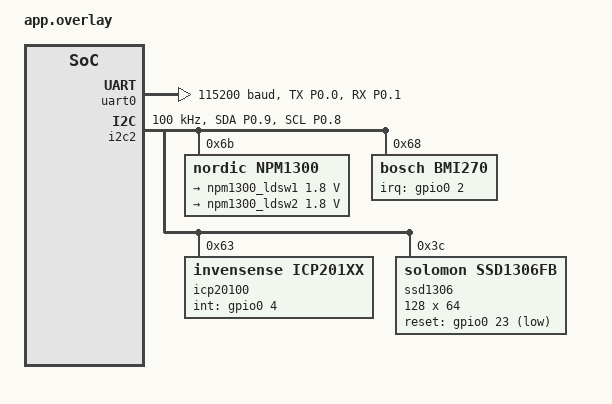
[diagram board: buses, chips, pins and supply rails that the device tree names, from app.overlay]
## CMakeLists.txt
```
# Require a minimum CMake version (Standard for NCS)
cmake_minimum_required(VERSION 3.20.0)

# Find the Zephyr package. This is the magic line that loads the whole RTOS.
find_package(Zephyr REQUIRED HINTS $ENV{ZEPHYR_BASE})

# Name your specific project
project(display)

target_sources(app PRIVATE src/main.c)
```

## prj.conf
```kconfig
# Core peripherals
CONFIG_GPIO=y
CONFIG_I2C=y

# Regulators: nPM1300 LDSWs + OLED power-enable GPIO (P0.26)
CONFIG_REGULATOR=y

# Display + text rendering
CONFIG_DISPLAY=y
CONFIG_CHARACTER_FRAMEBUFFER=y

# Console on uart0 for debug output
CONFIG_SERIAL=y
CONFIG_CONSOLE=y
CONFIG_UART_CONSOLE=y
CONFIG_PRINTK=y
CONFIG_LOG=y

CONFIG_HEAP_MEM_POOL_SIZE=4096
```

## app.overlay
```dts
#include <zephyr/dt-bindings/regulator/npm13xx.h>
#include <zephyr/dt-bindings/i2c/i2c.h>


&pinctrl {
    /* --- UART0 --- */
    uart0_default: uart0_default {
        group1 {
            psels = <NRF_PSEL(UART_TX, 0, 0)>,
                    <NRF_PSEL(UART_RX, 0, 1)>;
        };
    };
    uart0_sleep: uart0_sleep {
        group1 {
            psels = <NRF_PSEL(UART_TX, 0, 0)>,
                    <NRF_PSEL(UART_RX, 0, 1)>;
            low-power-enable;
        };
    };

    /* --- I2C2 --- */
    i2c2_default: i2c2_default {
        group1 {
            psels = <NRF_PSEL(TWIM_SDA, 0, 9)>,
                    <NRF_PSEL(TWIM_SCL, 0, 8)>;
        };
    };
    i2c2_sleep: i2c2_sleep {
        group1 {
            psels = <NRF_PSEL(TWIM_SDA, 0, 9)>,
                    <NRF_PSEL(TWIM_SCL, 0, 8)>;
            low-power-enable;
        };
    };
};


&uart0 {
    status = "okay";
    current-speed = <115200>;
    pinctrl-0 = <&uart0_default>;
    pinctrl-1 = <&uart0_sleep>;
    pinctrl-names = "default", "sleep";
};

&i2c2 {
    status = "okay";
    pinctrl-0 = <&i2c2_default>;
    pinctrl-1 = <&i2c2_sleep>;
    pinctrl-names = "default", "sleep";
    clock-frequency = <I2C_BITRATE_STANDARD>;
    zephyr,concat-buf-size = <2048>;
    zephyr,flash-buf-max-size = <2048>;

    npm1300: pmic@6b {
        compatible = "nordic,npm1300";
        reg = <0x6b>;
        status = "okay";

        npm1300_regulators: regulators {
            compatible = "nordic,npm1300-regulator";
            status = "okay";
        };

        npm1300_charger: charger {
            compatible = "nordic,npm1300-charger";
            status = "okay";
            vbus-limit-microamp = <500000>;
            term-microvolt = <4200000>;
            current-microamp = <400000>;
            dischg-limit-microamp = <1000000>;
            thermistor-ohms = <10000>;
            thermistor-beta = <3380>;
        };
    };


    /* Bosch BMI270 IMU */
    bmi270: bmi270@68 {
        compatible = "bosch,bmi270";
        reg = <0x68>;
        irq-gpios = <&gpio0 2 GPIO_ACTIVE_HIGH>;
    };

    /* TDK Barometer */
    icp20100: icp20100@63 {
        compatible = "invensense,icp201xx";
        reg = <0x63>;
        int-gpios = <&gpio0 4 GPIO_ACTIVE_HIGH>;
    };

    /* OLED Display (SSD1315, SSD1306-compatible) */
    ssd1306: ssd1306@3c {
        compatible = "solomon,ssd1306fb";
        reg = <0x3c>;
        width = <128>;
        height = <64>;
        segment-offset = <0>;
        page-offset = <0>;
        display-offset = <0>;
        multiplex-ratio = <63>;
        prechargep = <0x22>;
        segment-remap;      /* remove together with com-invdir if image is rotated 180 */
        com-invdir;
        ready-time-ms = <10>;
        reset-gpios = <&gpio0 23 GPIO_ACTIVE_LOW>;
        zephyr,deferred-init;
    };

};


&npm1300_regulators {
    npm1300_ldsw1: LDO1 {
        status = "okay";
        /* Fixed: Lowered to 1.8V to match nRF9151 GPIO logic levels */
        regulator-min-microvolt = <1800000>;
        regulator-max-microvolt = <1800000>;
        regulator-initial-mode = <NPM13XX_LDSW_MODE_LDSW>;
        active-discharge;
        regulator-boot-on;
        regulator-always-on;
    };

    npm1300_ldsw2: LDO2 {
        status = "okay";
        /* Fixed: Lowered to 1.8V to match nRF9151 GPIO logic levels */
        regulator-min-microvolt = <1800000>;
        regulator-max-microvolt = <1800000>;
        regulator-initial-mode = <NPM13XX_LDSW_MODE_LDSW>;
        active-discharge;
        regulator-boot-on;
        regulator-always-on;
    };
};
```

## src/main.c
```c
#include <zephyr/kernel.h>
#include <zephyr/device.h>
#include <zephyr/devicetree.h>
#include <zephyr/drivers/display.h>
#include <zephyr/drivers/gpio.h>
#include <zephyr/drivers/i2c.h>
#include <zephyr/display/cfb.h>
#include <zephyr/sys/printk.h>
#include <stdio.h>

#define OLED_NODE  DT_NODELABEL(ssd1306)
#define OLED_ADDR  DT_REG_ADDR(OLED_NODE)

#define PWR_PIN 26  /* P0.26, active high  */
#define RST_PIN 23  /* P0.23, active low   */

static const struct device *gpio0 = DEVICE_DT_GET(DT_NODELABEL(gpio0));

static bool i2c_probe(const struct device *bus, uint8_t addr)
{
	struct i2c_msg msg;
	uint8_t dummy;

	msg.buf   = &dummy;
	msg.len   = 0U;
	msg.flags = I2C_MSG_WRITE | I2C_MSG_STOP;

	return i2c_transfer(bus, &msg, 1, addr) == 0;
}

static void i2c_bus_scan(const struct device *bus)
{
	int found = 0;

	printk("[SCAN] scanning %s...\n", bus->name);
	for (uint8_t addr = 0x08; addr <= 0x77; addr++) {
		if (i2c_probe(bus, addr)) {
			printk("[SCAN]   ACK at 0x%02X\n", addr);
			found++;
		}
	}
	printk("[SCAN] done, %d device(s)\n", found);
}

int main(void)
{
	const struct device *display = DEVICE_DT_GET(OLED_NODE);
	const struct device *bus     = DEVICE_DT_GET(DT_BUS(OLED_NODE));
	struct display_capabilities caps;
	char line[32];
	int rc, t = 0;

	printk("\n=== SSD1315 manual bring-up ===\n");

	if (!device_is_ready(gpio0) || !device_is_ready(bus)) {
		printk("[0] !! gpio0 or i2c bus not ready, stopping\n");
		return 0;
	}

	/* --- Step 1: reset line low BEFORE power (avoid latch-up) --- */
	rc = gpio_pin_configure(gpio0, RST_PIN, GPIO_OUTPUT_LOW);
	printk("[1] P0.23 (RST) configured LOW (in reset): rc=%d\n", rc);

	/* --- Step 2: power on --- */
	rc = gpio_pin_configure(gpio0, PWR_PIN, GPIO_OUTPUT_HIGH);
	printk("[2] P0.26 (PWR) configured HIGH: rc=%d\n", rc);
	printk("[2] >> measure P0.26 and display VDD with multimeter NOW <<\n");
	k_msleep(100);

	/* --- Step 3: release reset --- */
	rc = gpio_pin_set_raw(gpio0, RST_PIN, 1);
	printk("[3] P0.23 (RST) released HIGH: rc=%d\n", rc);
	k_msleep(120);

	/* --- Step 4: probe OLED specifically, then full scan --- */
	printk("[4] probe 0x3C: %s\n", i2c_probe(bus, 0x3C) ? "ACK" : "no ACK");
	printk("[4] probe 0x3D: %s\n", i2c_probe(bus, 0x3D) ? "ACK" : "no ACK");
	i2c_bus_scan(bus);

	/* --- Step 5: init display driver (deferred in DT) --- */
	rc = device_init(display);
	printk("[5] device_init(%s): %d %s\n", display->name, rc,
	       rc == 0 ? "(OK)" : "(FAIL)");
	if (rc != 0 || !device_is_ready(display)) {
		printk("[5] !! stopping. If no ACK in step 4 -> hardware:\n");
		printk("       - VDD present at panel?\n");
		printk("       - BS1/BS2 strapping = I2C mode? (BS1=1, BS2=0)\n");
		printk("       - D1+D2 tied together for I2C SDA?\n");
		return 0;
	}

	display_get_capabilities(display, &caps);
	printk("[6] caps: %ux%u, formats 0x%02x, current 0x%02x\n",
	       caps.x_resolution, caps.y_resolution,
	       caps.supported_pixel_formats, caps.current_pixel_format);

	rc = cfb_framebuffer_init(display);
	printk("[7] cfb_framebuffer_init: %d\n", rc);
	if (rc != 0) {
		return 0;
	}

	rc = cfb_framebuffer_clear(display, true);
	printk("[8] cfb_framebuffer_clear: %d\n", rc);
	rc = display_blanking_off(display);
	printk("[8] display_blanking_off: %d %s\n", rc,
	       rc == 0 ? "(panel ON)" : "(FAIL)");

	printk("[9] draw loop\n");
	while (1) {
		cfb_framebuffer_clear(display, false);
		cfb_print(display, "SSD1315 OK", 0, 0);
		snprintf(line, sizeof(line), "uptime %d s", t);
		cfb_print(display, line, 0, 16);
		rc = cfb_framebuffer_finalize(display);
		if (rc) {
			printk("[9] finalize failed: %d\n", rc);
		} else if (t % 10 == 0) {
			printk("[9] alive, t=%d\n", t);
		}
		t++;
		k_sleep(K_SECONDS(1));
	}
	return 0;
}
```
